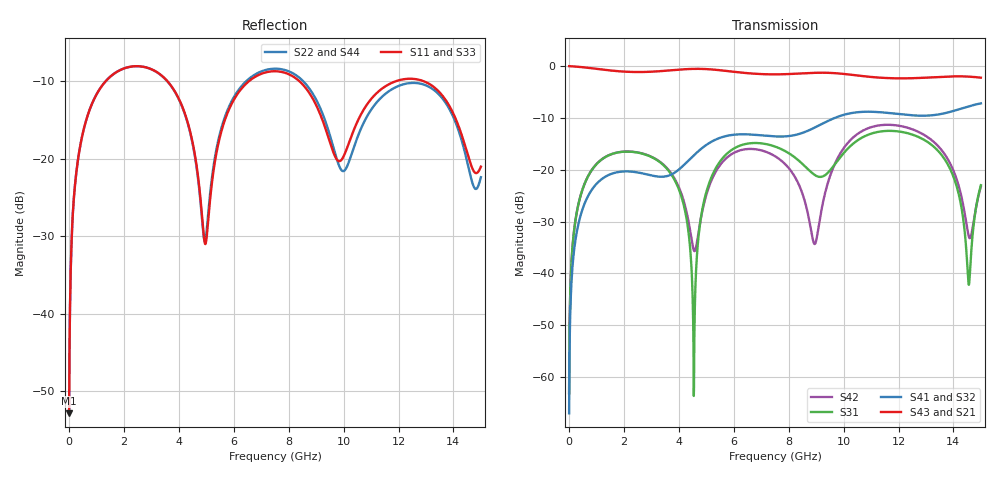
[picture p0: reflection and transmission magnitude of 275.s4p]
! Created with skrf 1.8.0 (http://scikit-rf.org).
# GHz S RI R 50.0
!freq ReS11 ImS11 ReS12 ImS12 ReS13 ImS13
! ReS14 ImS14
! ReS21 ImS21 ReS22 ImS22 ReS23 ImS23
! ReS24 ImS24
! ReS31 ImS31 ReS32 ImS32 ReS33 ImS33
! ReS34 ImS34
! ReS41 ImS41 ReS42 ImS42 ReS43 ImS43
! ReS44 ImS44
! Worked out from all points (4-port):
!   2499 points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, 5 MHz to 15 GHz, reference 50 ohm
!   strongest paths, dB at 5 MHz, 3.476 GHz, 7.19 GHz, 11.1 GHz, 15 GHz:
!     S43: 0.0, -0.9, -1.6, -2.1, -2.2
!     S21: 0.0, -0.9, -1.6, -2.1, -2.2
!     S41: -67.0, -21.3, -13.5, -8.8, -7.2
!     S32: -67.0, -21.3, -13.5, -8.8, -7.2
!     S31: -63.1, -19.3, -15.1, -12.9, -23.0
!     S42: -63.1, -19.2, -16.6, -11.6, -23.2
!   lowest |S11| = -52.9 dB at 5 MHz (marker M1), VSWR 1.00, Z = 50.2 + j0.138 ohm
!   |S11| at or under -10 dB: 3.586 GHz to 6.551 GHz (2.965 GHz wide, 58.5 % of centre); 8.391 GHz to 11.9 GHz (3.51 GHz wide, 34.6 % of centre); 12.92 GHz to end of sweep (the widest 3 of 4)
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0.005  0.00181 0.00138  0.9982 -0.00352  9.05e-05 0.000692  -8.81e-05 -0.000438
       0.9982 -0.00352  0.00181 0.00138  -8.81e-05 -0.000438  9.06e-05 0.000692
       9.05e-05 0.000692  -8.81e-05 -0.000438  0.00181 0.00138  0.9982 -0.00352
       -8.81e-05 -0.000438  9.06e-05 0.000692  0.9982 -0.00352  0.00181 0.00138
0.3626511  0.0358 0.1022  0.9506 -0.2508  0.0166 0.046  -0.0138 -0.0283
           0.9506 -0.2508  0.0357 0.1022  -0.0138 -0.0283  0.0166 0.046
           0.0166 0.046  -0.0138 -0.0283  0.0358 0.1022  0.9506 -0.2508
           -0.0138 -0.0283  0.0166 0.046  0.9506 -0.2508  0.0357 0.1022
1.875782  0.3556 0.1173  0.322 -0.8288  0.1464 0.0238  -0.091 0.0296
          0.322 -0.8288  0.3554 0.1176  -0.091 0.0296  0.1468 0.0227
          0.1464 0.0238  -0.091 0.0296  0.3557 0.1173  0.322 -0.8288
          -0.091 0.0296  0.1468 0.0227  0.322 -0.8288  0.3555 0.1176
4.545909  0.0544 -0.1025  -0.8859 -0.3146  0.000617 -0.000226  -0.0416 0.1312
          -0.8859 -0.3146  0.0546 -0.0997  -0.0422 0.131  -0.0157 -0.00568
          0.000617 -0.000226  -0.0422 0.131  0.0539 -0.1035  -0.8857 -0.3148
          -0.0416 0.1312  -0.0157 -0.00568  -0.8857 -0.3148  0.0557 -0.1002
5.63985  0.1035 0.1349  -0.836 0.3429  0.101 0.0871  0.1037 0.1812
         -0.836 0.3429  0.1092 0.1402  0.1029 0.1817  0.0726 0.0989
         0.101 0.0871  0.1029 0.1817  0.102 0.1345  -0.8362 0.3428
         0.1037 0.1812  0.0726 0.0989  -0.8362 0.3428  0.1099 0.1386
9.966653  0.0999 0.014  0.8366 0.0983  -0.0377 0.1359  0.0295 -0.335
          0.8366 0.0983  0.0819 -0.0152  0.0319 -0.3348  0.0303 0.1531
          -0.0377 0.1359  0.0319 -0.3348  0.0993 0.0152  0.8367 0.0969
          0.0295 -0.335  0.0303 0.1531  0.8367 0.0969  0.0821 -0.0148
15  0.0863 0.0213  -0.7592 -0.1463  0.031 0.0639  -0.061 0.4326
    -0.7592 -0.1463  0.0679 0.034  -0.0676 0.4322  0.0101 0.0682
    0.031 0.0639  -0.0676 0.4322  0.079 0.0163  -0.7598 -0.144
    -0.061 0.4326  0.0101 0.0682  -0.7598 -0.144  0.0766 0.0298
